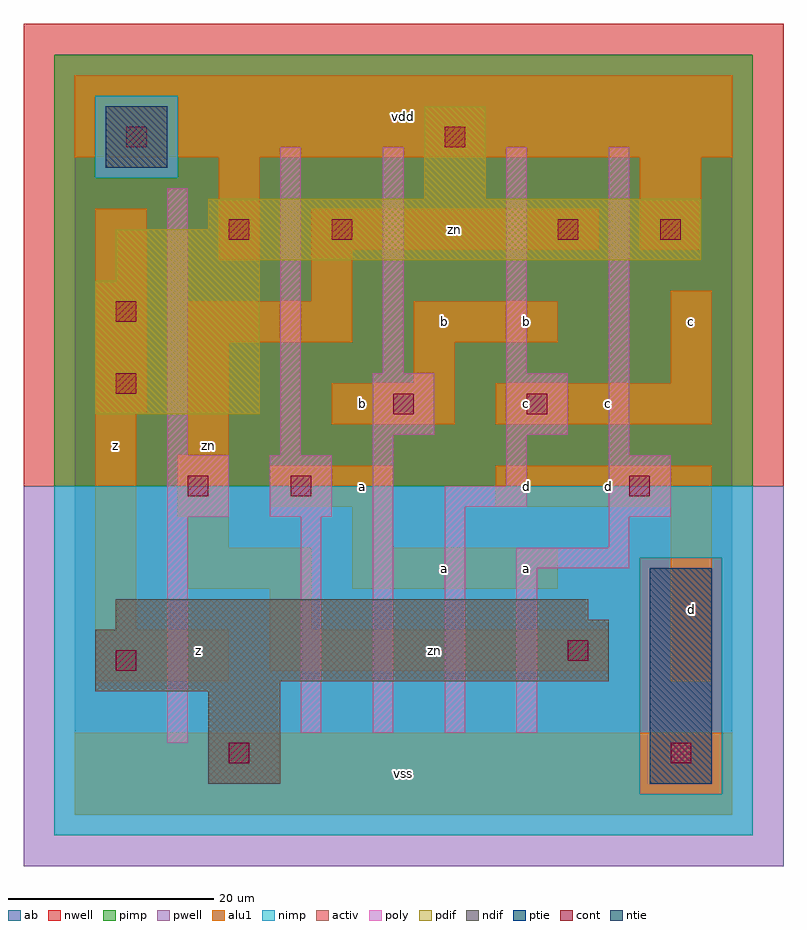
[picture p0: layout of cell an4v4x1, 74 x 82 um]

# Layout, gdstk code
import gdstk
lib = gdstk.Library(unit=1e-6, precision=1e-09)
def R(c, l, rs):  # rectangles x0, y0, x1, y1
    for r in rs: c.add(gdstk.rectangle(r[:2], r[2:], *l))
ndif = (3, 0)
pdif = (4, 0)
ntie = (5, 0)
ptie = (6, 0)
cont = (25, 0)
pwell = (41, 0)
nwell = (42, 0)
activ = (43, 0)
pimp = (44, 0)
nimp = (45, 0)
poly = (46, 0)
alu1 = (49, 0)
ab = (63, 0)

an4v4x1 = lib.new_cell('an4v4x1')
R(an4v4x1, ndif, [(13,3,20,12), (2,12,20,13), (2,13,52,18), (4,18,52,19), (4,19,50,21)])
R(an4v4x1, pdif, [(2,39,18,52), (4,52,18,54), (4,54,61,57), (13,57,61,60), (34,60,40,69)])
R(an4v4x1, ntie, [(3,63,9,69)])
R(an4v4x1, ptie, [(56,3,62,24)])
R(an4v4x1, cont, [(15,5,17,7), (58,5,60,7), (4,14,6,16), (48,15,50,17), (11,31,13,33), (21,31,23,33), (54,31,56,33), (31,39,33,41), (44,39,46,41), (4,41,6,43), (4,48,6,50), (15,56,17,58), (25,56,27,58), (47,56,49,58), (57,56,59,58), (5,65,7,67), (36,65,38,67)])
R(an4v4x1, pwell, [(-5,-5,69,32)])
R(an4v4x1, nwell, [(-5,32,69,77)])
R(an4v4x1, activ, [(13,3,20,12), (56,3,62,24), (2,12,20,13), (2,13,52,18), (4,18,52,19), (4,19,50,21), (2,39,18,52), (4,52,18,54), (4,54,61,57), (13,57,61,60), (34,60,40,69), (3,63,9,69)])
R(an4v4x1, pimp, [(55,2,63,25), (-2,32,66,62), (-2,62,2,70), (10,62,66,70), (-2,70,66,74)])
R(an4v4x1, nimp, [(-2,-2,66,2), (-2,2,55,25), (63,2,66,25), (-2,25,66,32), (2,62,10,70)])
R(an4v4x1, poly, [(9,7,11,29), (22,8,24,29), (29,8,31,37), (36,8,38,30), (43,8,45,24), (43,24,54,26), (52,26,54,29), (9,29,15,35), (19,29,25,35), (52,29,58,35), (36,30,44,32), (42,32,44,37), (9,35,11,61), (20,35,22,65), (52,35,54,65), (29,37,35,43), (42,37,48,43), (30,43,32,65), (42,43,44,65)])
R(an4v4x1, alu1, [(0,0,64,8), (2,13,15,18), (58,13,62,30), (19,14,52,18), (2,18,6,39), (19,18,23,22), (11,22,23,26), (27,22,47,26), (11,26,15,29), (27,26,31,30), (10,29,15,35), (19,30,31,34), (41,30,62,34), (11,35,15,46), (25,38,37,42), (41,38,62,42), (2,39,7,59), (33,42,37,46), (58,42,62,51), (11,46,27,50), (33,46,47,50), (23,50,27,55), (14,54,18,64), (23,55,51,59), (55,55,61,64), (0,64,64,72)])
R(an4v4x1, ab, [(0,0,64,72)])
an4v4x1.add(gdstk.Label('zn', (13,36), layer=49, texttype=0))
an4v4x1.add(gdstk.Label('zn', (35,16), layer=49, texttype=0))
an4v4x1.add(gdstk.Label('zn', (37,57), layer=49, texttype=0))
an4v4x1.add(gdstk.Label('z', (12,16), layer=49, texttype=0))
an4v4x1.add(gdstk.Label('z', (4,36), layer=49, texttype=0))
an4v4x1.add(gdstk.Label('a', (28,32), layer=49, texttype=0))
an4v4x1.add(gdstk.Label('b', (28,40), layer=49, texttype=0))
an4v4x1.add(gdstk.Label('vss', (32,4), layer=49, texttype=0))
an4v4x1.add(gdstk.Label('a', (36,24), layer=49, texttype=0))
an4v4x1.add(gdstk.Label('d', (44,32), layer=49, texttype=0))
an4v4x1.add(gdstk.Label('a', (44,24), layer=49, texttype=0))
an4v4x1.add(gdstk.Label('c', (44,40), layer=49, texttype=0))
an4v4x1.add(gdstk.Label('b', (36,48), layer=49, texttype=0))
an4v4x1.add(gdstk.Label('b', (44,48), layer=49, texttype=0))
an4v4x1.add(gdstk.Label('vdd', (32,68), layer=49, texttype=0))
an4v4x1.add(gdstk.Label('d', (60,20), layer=49, texttype=0))
an4v4x1.add(gdstk.Label('d', (52,32), layer=49, texttype=0))
an4v4x1.add(gdstk.Label('c', (52,40), layer=49, texttype=0))
an4v4x1.add(gdstk.Label('c', (60,48), layer=49, texttype=0))

lib.write_gds('an4v4x1.gds')
